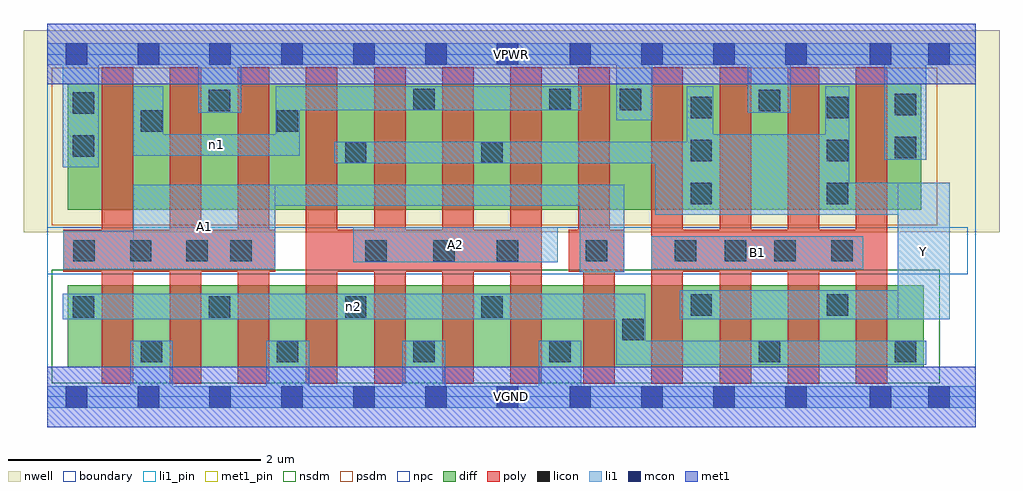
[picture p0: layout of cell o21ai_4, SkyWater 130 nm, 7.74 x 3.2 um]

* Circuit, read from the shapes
.subckt o21ai_4 A1 A2 B1 VGND VPWR Y n1 n2
XM1 VGND A1 n2 VSUBS sky130_fd_pr__nfet_01v8 w=0.65 l=0.25 m=4
XM2 n2 A2 VGND VSUBS sky130_fd_pr__nfet_01v8 w=0.65 l=0.25 m=4
XM3 Y B1 n2 VSUBS sky130_fd_pr__nfet_01v8 w=0.65 l=0.25 m=4
XM4 n1 A1 VPWR n3 sky130_fd_pr__pfet_01v8 w=1 l=0.25 m=4
XM5 Y A2 n1 n3 sky130_fd_pr__pfet_01v8 w=1 l=0.25 m=4
XM6 Y B1 VPWR n3 sky130_fd_pr__pfet_01v8 w=1 l=0.25 m=4
.ends

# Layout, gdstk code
import gdstk
lib = gdstk.Library(unit=1e-6, precision=1e-09)
def R(c, l, rs):  # rectangles x0, y0, x1, y1
    for r in rs: c.add(gdstk.rectangle(r[:2], r[2:], *l))
def A(c, l, x, y, w, h, nx, ny, dx, dy):  # array of equal rectangles
    R(c, l, [(x+i*dx, y+j*dy, x+i*dx+w, y+j*dy+h) for i in range(nx) for j in range(ny)])
nwell = (64, 20)
diff = (65, 20)
poly = (66, 20)
licon = (66, 44)
li1_pin = (67, 16)
li1 = (67, 20)
mcon = (67, 44)
met1_pin = (68, 16)
met1 = (68, 20)
nsdm = (93, 44)
psdm = (94, 20)
npc = (95, 20)
boundary = (235, 4)

o21ai_4 = lib.new_cell('o21ai_4')
R(o21ai_4, nwell, [(-0.19,1.305,7.55,2.91), (0,1.305,7.36,2.91)])
R(o21ai_4, diff, [(0.16,0.235,6.95,0.885), (0.16,1.485,6.93,2.485)])
A(o21ai_4, poly, 0.43, 0.105, 0.25, 2.51, 7, 1, 0.54, 0)
A(o21ai_4, poly, 4.79, 0.105, 0.25, 2.51, 4, 1, 0.54, 0)
R(o21ai_4, poly, [(4.25,0.105,4.5,1.325), (0.125,0.995,1.805,1.325), (2.05,0.995,3.92,1.325), (4.135,0.995,4.575,1.325), (4.21,0.995,4.46,2.615), (4.79,0.995,6.66,1.325)])
A(o21ai_4, licon, 0.74, 0.275, 0.17, 0.17, 4, 1, 1.08, 0)
A(o21ai_4, licon, 0.2, 0.63, 0.17, 0.17, 4, 1, 1.08, 0)
A(o21ai_4, licon, 3.565, 1.075, 0.17, 0.17, 3, 1, 0.705, 0)
A(o21ai_4, licon, 5.1, 1.53, 0.17, 0.17, 1, 3, 0, 0.34)
A(o21ai_4, licon, 6.18, 1.53, 0.17, 0.17, 1, 3, 0, 0.34)
R(o21ai_4, licon, [(5.64,0.275,5.81,0.445), (6.72,0.275,6.89,0.445), (4.56,0.45,4.73,0.62), (5.1,0.645,5.27,0.815), (6.18,0.645,6.35,0.815), (0.205,1.075,0.375,1.245), (0.655,1.075,0.825,1.245), (1.1,1.075,1.27,1.245), (1.45,1.075,1.62,1.245), (2.52,1.075,2.69,1.245), (3.06,1.075,3.23,1.245), (5.37,1.075,5.54,1.245), (5.765,1.075,5.935,1.245), (6.215,1.075,6.385,1.245), (2.36,1.855,2.53,2.025), (3.44,1.855,3.61,2.025), (6.72,1.895,6.89,2.065), (0.2,1.905,0.37,2.075), (0.74,2.105,0.91,2.275), (1.82,2.105,1.99,2.275), (6.72,2.235,6.89,2.405), (0.2,2.245,0.37,2.415), (1.28,2.265,1.45,2.435), (5.64,2.265,5.81,2.435), (2.9,2.275,3.07,2.445), (3.98,2.275,4.15,2.445), (4.54,2.275,4.71,2.445)])
R(o21ai_4, li1_pin, [(6.745,0.615,7.155,1.7), (0.68,1.015,1.805,1.685), (4.79,1.015,6.47,1.275), (2.425,1.07,4.045,1.345)])
A(o21ai_4, li1, 0.655, -0.085, 0.34, 0.53, 4, 1, 1.08, 0)
R(o21ai_4, li1, [(0,-0.085,7.36,0.085), (4.51,0.255,6.97,0.445), (4.51,0.255,4.74,0.82), (0.12,0.615,4.74,0.82), (5.015,0.615,7.155,0.845), (6.745,0.615,7.155,1.7), (4.22,0.99,4.575,1.685), (0.125,1.015,1.805,1.32), (0.68,1.015,1.805,1.685), (4.79,1.015,6.47,1.275), (2.425,1.07,4.045,1.345), (4.82,1.445,7.155,1.7), (4.82,1.445,6.36,1.855), (5.07,1.445,6.17,2.085), (5.07,1.445,5.28,2.465), (6.17,1.445,6.36,2.465), (0.68,1.515,4.575,1.685), (0.12,1.82,0.405,2.805), (2.275,1.855,6.36,2.025), (6.635,1.88,6.97,2.805), (0.68,1.915,2,2.085), (0.68,1.915,0.92,2.465), (1.81,1.915,2,2.465), (4.51,2.195,4.795,2.805), (1.195,2.255,1.535,2.805), (5.555,2.255,5.895,2.805), (1.81,2.275,4.235,2.465), (0,2.635,7.36,2.805)])
A(o21ai_4, mcon, 0.145, -0.085, 0.17, 0.17, 7, 2, 0.57, 2.72)
A(o21ai_4, mcon, 4.14, -0.085, 0.17, 0.17, 4, 2, 0.57, 2.72)
R(o21ai_4, mcon, [(6.52,-0.085,6.69,0.085), (6.985,-0.085,7.155,0.085), (6.52,2.635,6.69,2.805), (6.985,2.635,7.155,2.805)])
R(o21ai_4, met1_pin, [(0,-0.24,7.36,0.24), (0,2.48,7.36,2.96)])
R(o21ai_4, met1, [(0,-0.24,7.36,0.24), (0,2.48,7.36,2.96)])
R(o21ai_4, nsdm, [(0.035,0.11,7.075,1.01)])
R(o21ai_4, psdm, [(0.035,1.36,7.055,2.61)])
R(o21ai_4, npc, [(0,0.975,7.3,1.345)])
R(o21ai_4, boundary, [(0,0,7.36,2.72)])
o21ai_4.add(gdstk.Label('A1', (1.242,1.35), layer=67, texttype=5))
o21ai_4.add(gdstk.Label('A2', (3.235,1.207), layer=67, texttype=5))
o21ai_4.add(gdstk.Label('B1', (5.63,1.145), layer=67, texttype=5))
o21ai_4.add(gdstk.Label('Y', (6.95,1.157), layer=67, texttype=5))
o21ai_4.add(gdstk.Label('n2', (2.43,0.717), layer=67, texttype=5))
o21ai_4.add(gdstk.Label('n1', (1.34,2), layer=67, texttype=5))
o21ai_4.add(gdstk.Label('VPWR', (3.68,2.72), layer=68, texttype=5))
o21ai_4.add(gdstk.Label('VGND', (3.68,0), layer=68, texttype=5))
o21ai_4.add(gdstk.Label('A1', (1.242,1.35), layer=67, texttype=16))
o21ai_4.add(gdstk.Label('A2', (3.235,1.207), layer=67, texttype=16))
o21ai_4.add(gdstk.Label('B1', (5.63,1.145), layer=67, texttype=16))
o21ai_4.add(gdstk.Label('Y', (6.95,1.157), layer=67, texttype=16))
o21ai_4.add(gdstk.Label('VPWR', (3.68,2.72), layer=68, texttype=16))
o21ai_4.add(gdstk.Label('VGND', (3.68,0), layer=68, texttype=16))

lib.write_gds('o21ai_4.gds')
